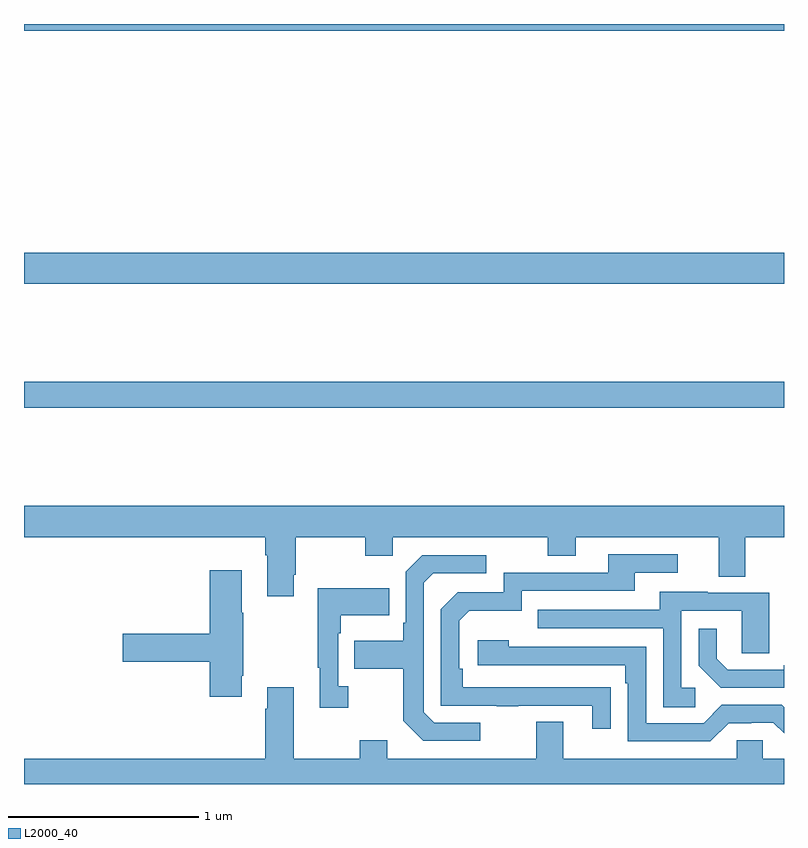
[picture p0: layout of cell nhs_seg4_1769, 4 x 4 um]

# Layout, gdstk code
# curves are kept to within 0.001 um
import gdstk
lib = gdstk.Library(unit=1e-6, precision=1e-09)
def R(c, l, rs):  # rectangles x0, y0, x1, y1
    for r in rs: c.add(gdstk.rectangle(r[:2], r[2:], *l))
def P(c, l, *ps):  # polygons
    for p in ps: c.add(gdstk.Polygon(p, *l))
L2000_40 = (2000, 40)

nhs_seg4_1769 = lib.new_cell('nhs_seg4_1769')
R(nhs_seg4_1769, L2000_40, [(203,750.88,207,751.016), (203,751.532,207,751.696), (203,752.864,207,752.9)])
P(nhs_seg4_1769, L2000_40, [(204.421,750.001),(204.429,750.001),(204.429,750.2),(204.796,750.2),(204.796,750.101),(204.942,750.101),(204.942,750.2),(205.756,750.2),(205.756,750.101),(205.903,750.101),(205.903,750.2),(206.657,750.2),(206.657,749.992),(206.797,749.992),(206.797,750.2),(207,750.2),(207,750.364),(203,750.364),(203,750.2),(204.269,750.2),(204.269,750.104),(204.281,750.104),(204.281,749.889),(204.421,749.889)],
  [(206.087,749.408),(205.31,749.409),(205.31,749.506),(205.29,749.506),(205.29,749.76),(205.343,749.813),(205.62,749.813),(205.62,749.916),(206.215,749.916),(206.215,750.012),(206.44,750.012),(206.44,750.108),(206.075,750.108),(206.075,750.012),(205.524,750.012),(205.524,749.91),(205.284,749.91),(205.194,749.82),(205.194,749.313),(205.489,749.313),(205.489,749.308),(205.601,749.308),(205.601,749.313),(205.991,749.313),(205.991,749.19),(206.087,749.19)],
  [(205.402,749.223),(205.158,749.223),(205.104,749.277),(205.104,749.958),(205.155,750.009),(205.432,750.009),(205.432,750.105),(205.095,750.105),(205.008,750.018),(205.008,749.749),(204.996,749.749),(204.996,749.653),(204.739,749.653),(204.739,749.506),(204.996,749.506),(204.996,749.233),(205.101,749.127),(205.402,749.127)],
  [(204.145,749.47),(204.153,749.47),(204.153,749.801),(204.145,749.801),(204.145,750.025),(203.978,750.025),(203.978,749.69),(203.52,749.69),(203.52,749.543),(203.978,749.543),(203.978,749.358),(204.145,749.358)],
  [(204.706,749.414),(204.654,749.414),(204.654,749.693),(204.667,749.693),(204.667,749.789),(204.923,749.789),(204.923,749.929),(204.546,749.929),(204.546,749.513),(204.557,749.513),(204.557,749.301),(204.706,749.301)],
  [(206.533,749.406),(206.46,749.406),(206.46,749.811),(206.778,749.811),(206.778,749.587),(206.923,749.587),(206.923,749.907),(206.599,749.907),(206.599,749.911),(206.345,749.911),(206.345,749.817),(205.705,749.817),(205.705,749.721),(206.364,749.721),(206.364,749.305),(206.533,749.305)],
  [(207,749.525),(206.999,749.525),(206.999,749.502),(206.704,749.502),(206.647,749.559),(206.647,749.716),(206.55,749.716),(206.55,749.522),(206.666,749.406),(207,749.406)],
  [(206.709,749.22),(206.828,749.22),(206.828,749.223),(206.943,749.223),(207,749.166),(207,749.304),(206.988,749.316),(206.673,749.316),(206.577,749.22),(206.274,749.22),(206.274,749.622),(205.55,749.622),(205.55,749.656),(205.389,749.656),(205.389,749.526),(206.165,749.526),(206.165,749.429),(206.178,749.429),(206.178,749.124),(206.613,749.124)],
  [(207,749.032),(206.889,749.032),(206.889,749.13),(206.751,749.13),(206.751,749.032),(205.837,749.032),(205.837,749.227),(205.697,749.227),(205.697,749.032),(204.913,749.032),(204.913,749.131),(204.766,749.131),(204.766,749.032),(204.421,749.032),(204.421,749.41),(204.281,749.41),(204.281,749.297),(204.269,749.297),(204.269,749.032),(203,749.032),(203,748.9),(207,748.9)])

lib.write_gds('nhs_seg4_1769.gds')
